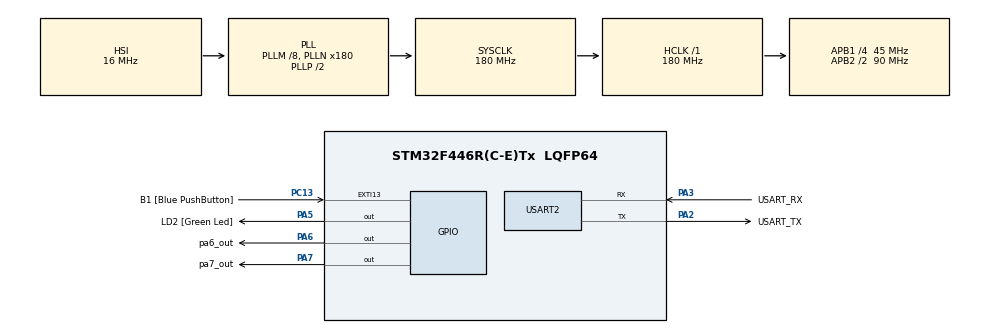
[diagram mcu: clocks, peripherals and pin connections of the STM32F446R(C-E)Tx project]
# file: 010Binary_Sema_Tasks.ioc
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Mcu.Family=STM32F4
Mcu.Name=STM32F446R(C-E)Tx
Mcu.Package=LQFP64
NVIC.PriorityGroup=NVIC_PRIORITYGROUP_4
NVIC.TIM6_DAC_IRQn=true\:0\:0\:false\:false\:true\:false\:true\:true
NVIC.TimeBase=TIM6_DAC_IRQn
NVIC.TimeBaseIP=TIM6
NVIC.USART2_IRQn=true\:0\:0\:false\:false\:false\:true\:true\:true
PA13.GPIO_Label=TMS
PA13.Signal=SYS_JTMS-SWDIO
PA14.GPIO_Label=TCK
PA14.Signal=SYS_JTCK-SWCLK
PA2.GPIO_Label=USART_TX
PA2.Mode=Asynchronous
PA2.Signal=USART2_TX
PA3.GPIO_Label=USART_RX
PA3.Mode=Asynchronous
PA3.Signal=USART2_RX
PA5.GPIO_Label=LD2 [Green Led]
PA5.Signal=GPIO_Output
PA6.GPIO_Label=pa6_out
PA6.Signal=GPIO_Output
PA7.GPIO_Label=pa7_out
PA7.Signal=GPIO_Output
PB3.GPIO_Label=SWO
PB3.Signal=SYS_JTDO-SWO
PC13.GPIO_Label=B1 [Blue PushButton]
PC13.GPIO_ModeDefaultEXTI=GPIO_MODE_IT_FALLING
PC13.Signal=GPXTI13
PC14-OSC32_IN.Signal=RCC_OSC32_IN
PC15-OSC32_OUT.Signal=RCC_OSC32_OUT
PH0-OSC_IN.Signal=RCC_OSC_IN
PH1-OSC_OUT.Signal=RCC_OSC_OUT
ProjectManager.HeapSize=0x200
ProjectManager.StackSize=0x400
ProjectManager.TargetToolchain=STM32CubeIDE
RCC.AHBFreq_Value=180000000
RCC.APB1CLKDivider=RCC_HCLK_DIV4
RCC.APB1Freq_Value=45000000
RCC.APB1TimFreq_Value=90000000
RCC.APB2CLKDivider=RCC_HCLK_DIV2
RCC.APB2Freq_Value=90000000
RCC.APB2TimFreq_Value=180000000
RCC.CortexFreq_Value=180000000
RCC.FLatency-AdvancedSettings=FLASH_LATENCY_5
RCC.HCLKFreq_Value=180000000
RCC.HSE_VALUE=8000000
RCC.HSI_VALUE=16000000
RCC.LSE_VALUE=32768
RCC.PLLM=8
RCC.PLLN=180
RCC.SYSCLKFreq_VALUE=180000000
RCC.SYSCLKSource=RCC_SYSCLKSOURCE_PLLCLK
RCC.USBFreq_Value=180000000
RCC.VCOOutputFreq_Value=360000000
USART2.VirtualMode=VM_ASYNC
VP_SYS_VS_tim6.Mode=TIM6
board=NUCLEO-F446RE

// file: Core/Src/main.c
/* USER CODE BEGIN Header */
/**
  ******************************************************************************
  * @file           : main.c
  * @brief          : Main program body
  ******************************************************************************
  * @attention
  *
  * Copyright (c) 2025 STMicroelectronics.
  * All rights reserved.
  *
  * This software is licensed under terms that can be found in the LICENSE file
  * in the root directory of this software component.
  * If no LICENSE file comes with this software, it is provided AS-IS.
  *
  ******************************************************************************
  */
/* USER CODE END Header */
#include "main.h"

/* USER CODE BEGIN Includes */
#include "FreeRTOS.h"
#include "task.h"
#include "semphr.h"
#include "queue.h"

#include <stdio.h>
#include <stdlib.h>
#include <string.h>

#include "stm32f4xx.h"

/* USER CODE END Includes */

/* USER CODE BEGIN PD */
#define DWT_CTRL_REG 		(*(volatile uint32_t *)0xE0001000)
/* USER CODE END PD */

UART_HandleTypeDef huart2;

/* USER CODE BEGIN PV */

BaseType_t status;
char usr_msg[250]={0};

TaskHandle_t xTaskHandleM=NULL;
TaskHandle_t xTaskHandleE=NULL;

/* Declare a variable of type xSemaphoreHandle.  This is used to reference the
semaphore that is used to synchronize both manager and employee task */
xSemaphoreHandle xWork;

/* this is the queue which manager uses to put the work ticket id */
xQueueHandle xWorkQueue;

/* USER CODE END PV */

void SystemClock_Config(void);
static void MX_GPIO_Init(void);
static void MX_USART2_UART_Init(void);
/* USER CODE BEGIN PFP */

/* The tasks to be created. */
static void vManagerTask( void *pvParameters );
static void vEmployeeTask( void *pvParameters );

//static void prvSetupHardware(void);
void printmsg(char *msg);
//static void prvSetupUart(void);
//void prvSetupGpio(void);

extern  void SEGGER_UART_init(uint32_t);
/* USER CODE END PFP */

int main(void)
{

  /* MCU Configuration--------------------------------------------------------*/

  /* Reset of all peripherals, Initializes the Flash interface and the Systick. */
  HAL_Init();

  /* Configure the system clock */
  SystemClock_Config();

  /* Initialize all configured peripherals */
  MX_GPIO_Init();
  MX_USART2_UART_Init();
  /* USER CODE BEGIN 2 */
  //Enable the Data watch
  DWT_CTRL_REG |= (1 << 0);

  //Enable Segger uart continuous record
  //SEGGER_UART_init(500000);

  //Enable Segger and call
  //SEGGER_SYSVIEW_Conf();
  //SEGGER_SYSVIEW_Start();

  sprintf(usr_msg,"Demo of Binary semaphore usage between 2 Tasks \r\n");
  printmsg(usr_msg);

  /* Before a semaphore is used it must be explicitly created.
    * In this example a binary semaphore is created . */
  vSemaphoreCreateBinary(xWork);

  /* The queue is created to hold a maximum of 1 Element. */
  xWorkQueue = xQueueCreate( 1, sizeof( unsigned int ) );

  /* Check the semaphore and queue was created successfully. */
  if( (xWork != NULL) && (xWorkQueue != NULL) ){

	  status = xTaskCreate(vManagerTask, "Manager_Task", 200, NULL, 3, &xTaskHandleM);
	  configASSERT(status == pdPASS);

	  status = xTaskCreate(vEmployeeTask, "Employee_Task", 200, NULL, 2, &xTaskHandleE);
	  configASSERT(status == pdPASS);

	  //start the freertos scheduler
	  vTaskStartScheduler();

  //if control comes here means there is not enough heap memory to launch the scheduler
  }
  sprintf(usr_msg,"Queue/Sema create failed.. \r\n");
  printmsg(usr_msg);

  /* USER CODE END 2 */

  /* Infinite loop */
  while (1)
  {

  }
}

void SystemClock_Config(void)
{
  RCC_OscInitTypeDef RCC_OscInitStruct = {0};
  RCC_ClkInitTypeDef RCC_ClkInitStruct = {0};

  /** Configure the main internal regulator output voltage
  */
  __HAL_RCC_PWR_CLK_ENABLE();
  __HAL_PWR_VOLTAGESCALING_CONFIG(PWR_REGULATOR_VOLTAGE_SCALE1);

  /** Initializes the RCC Oscillators according to the specified parameters
  * in the RCC_OscInitTypeDef structure.
  */
  RCC_OscInitStruct.OscillatorType = RCC_OSCILLATORTYPE_HSI;
  RCC_OscInitStruct.HSIState = RCC_HSI_ON;
  RCC_OscInitStruct.HSICalibrationValue = RCC_HSICALIBRATION_DEFAULT;
  RCC_OscInitStruct.PLL.PLLState = RCC_PLL_ON;
  RCC_OscInitStruct.PLL.PLLSource = RCC_PLLSOURCE_HSI;
  RCC_OscInitStruct.PLL.PLLM = 8;
  RCC_OscInitStruct.PLL.PLLN = 180;
  RCC_OscInitStruct.PLL.PLLP = RCC_PLLP_DIV2;
  RCC_OscInitStruct.PLL.PLLQ = 2;
  RCC_OscInitStruct.PLL.PLLR = 2;
  if (HAL_RCC_OscConfig(&RCC_OscInitStruct) != HAL_OK)
  {
    Error_Handler();
  }

  /** Activate the Over-Drive mode
  */
  if (HAL_PWREx_EnableOverDrive() != HAL_OK)
  {
    Error_Handler();
  }

  /** Initializes the CPU, AHB and APB buses clocks
  */
  RCC_ClkInitStruct.ClockType = RCC_CLOCKTYPE_HCLK|RCC_CLOCKTYPE_SYSCLK
                              |RCC_CLOCKTYPE_PCLK1|RCC_CLOCKTYPE_PCLK2;
  RCC_ClkInitStruct.SYSCLKSource = RCC_SYSCLKSOURCE_PLLCLK;
  RCC_ClkInitStruct.AHBCLKDivider = RCC_SYSCLK_DIV1;
  RCC_ClkInitStruct.APB1CLKDivider = RCC_HCLK_DIV4;
  RCC_ClkInitStruct.APB2CLKDivider = RCC_HCLK_DIV2;

  if (HAL_RCC_ClockConfig(&RCC_ClkInitStruct, FLASH_LATENCY_5) != HAL_OK)
  {
    Error_Handler();
  }
}

static void MX_USART2_UART_Init(void)
{

  huart2.Instance = USART2;
  huart2.Init.BaudRate = 115200;
  huart2.Init.WordLength = UART_WORDLENGTH_8B;
  huart2.Init.StopBits = UART_STOPBITS_1;
  huart2.Init.Parity = UART_PARITY_NONE;
  huart2.Init.Mode = UART_MODE_TX_RX;
  huart2.Init.HwFlowCtl = UART_HWCONTROL_NONE;
  huart2.Init.OverSampling = UART_OVERSAMPLING_16;
  if (HAL_UART_Init(&huart2) != HAL_OK)
  {
    Error_Handler();
  }

}

static void MX_GPIO_Init(void)
{
  GPIO_InitTypeDef GPIO_InitStruct = {0};
  /* USER CODE BEGIN MX_GPIO_Init_1 */
  //GPIO_InitTypeDef GPIO_InitTask = {0};
  /* USER CODE END MX_GPIO_Init_1 */

  /* GPIO Ports Clock Enable */
  __HAL_RCC_GPIOC_CLK_ENABLE();
  __HAL_RCC_GPIOH_CLK_ENABLE();
  __HAL_RCC_GPIOA_CLK_ENABLE();
  __HAL_RCC_GPIOB_CLK_ENABLE();

  /*Configure GPIO pin Output Level */
  HAL_GPIO_WritePin(GPIOA, LD2_Pin|pa6_out_Pin|pa7_out_Pin, GPIO_PIN_RESET);

  /*Configure GPIO pin : B1_Pin */
  GPIO_InitStruct.Pin = B1_Pin;
  GPIO_InitStruct.Mode = GPIO_MODE_IT_FALLING;
  GPIO_InitStruct.Pull = GPIO_NOPULL;
  HAL_GPIO_Init(B1_GPIO_Port, &GPIO_InitStruct);

  /*Configure GPIO pins : LD2_Pin pa6_out_Pin pa7_out_Pin */
  GPIO_InitStruct.Pin = LD2_Pin|pa6_out_Pin|pa7_out_Pin;
  GPIO_InitStruct.Mode = GPIO_MODE_OUTPUT_PP;
  GPIO_InitStruct.Pull = GPIO_NOPULL;
  GPIO_InitStruct.Speed = GPIO_SPEED_FREQ_LOW;
  HAL_GPIO_Init(GPIOA, &GPIO_InitStruct);

  /* USER CODE BEGIN MX_GPIO_Init_2 */
  //GPIO_InitTask.Mode = GPIO_MODE_OUTPUT_PP;
  //GPIO_InitTask.Pin = GPIO_PIN_5 | GPIO_PIN_6 | GPIO_PIN_7;

  //HAL_GPIO_Init(GPIOA, &GPIO_InitTask);

  /* USER CODE END MX_GPIO_Init_2 */
}

/* USER CODE BEGIN 4 */
/* The tasks to be created. */
static void vManagerTask( void *pvParameters ){

	unsigned int xWorkTicketId;
	portBASE_TYPE xStatus;

	/* The semaphore is created in the 'empty' state, meaning the semaphore must
	 first be given using the xSemaphoreGive() API function before it
	 can subsequently be taken (obtained) */
	xSemaphoreGive( xWork);

	for( ;; )
	{
		/* get a work ticket id(some random number) */
		xWorkTicketId = ( rand() & 0x1FF );

		/* Sends work ticket id to the work queue */
		xStatus = xQueueSend( xWorkQueue, &xWorkTicketId , portMAX_DELAY ); //Post an item on back of the queue

		if( xStatus != pdPASS )
		{
			sprintf(usr_msg,"Could not send to the queue.\r\n");
			printmsg(usr_msg);

		}else
		{
			/* Manager notifying the employee by "Giving" semaphore */
			xSemaphoreGive( xWork);
			/* after assigning the work , just yield the processor because nothing to do */
			taskYIELD();

		}
	}

}

/*********************************************************************************************************/
void EmployeeDoWork(unsigned char TicketId)
{
	/* implement the work according to TickedID */
	sprintf(usr_msg,"Employee task : Working on Ticked id : %d\r\n",TicketId);
	printmsg(usr_msg);
	vTaskDelay(TicketId);
}

/********************************************************************************************************/
static void vEmployeeTask( void *pvParameters ){

	unsigned char xWorkTicketId;
	portBASE_TYPE xStatus;
	/* As per most tasks, this task is implemented within an infinite loop. */
	for( ;; )
	{
		/* First Employee tries to take the semaphore, if it is available that means there is a task assigned by manager, otherwise employee task will be blocked */
		xSemaphoreTake( xWork, 0 );

		/* get the ticket id from the work queue */
		xStatus = xQueueReceive( xWorkQueue, &xWorkTicketId, 0 );

		if( xStatus == pdPASS )
		{
		  /* employee may decode the xWorkTicketId in this function to do the work*/
			EmployeeDoWork(xWorkTicketId);
		}
		else
		{
			/* We did not receive anything from the queue.  This must be an error as this task should only run when the manager assigns at least one work. */
			sprintf(usr_msg,"Employee task : Queue is empty , nothing to do.\r\n");
			printmsg(usr_msg);
		}
	}

}

/***************************************************************************************************************/
void printmsg(char *msg)
{
	HAL_UART_Transmit(&huart2, (uint8_t*)msg, strlen(msg), HAL_MAX_DELAY);
}

/* USER CODE END 4 */

void HAL_TIM_PeriodElapsedCallback(TIM_HandleTypeDef *htim)
{
  if (htim->Instance == TIM6)
  {
    HAL_IncTick();
  }
}

void Error_Handler(void)
{
  __disable_irq();
  while (1)
  {
  }
}
